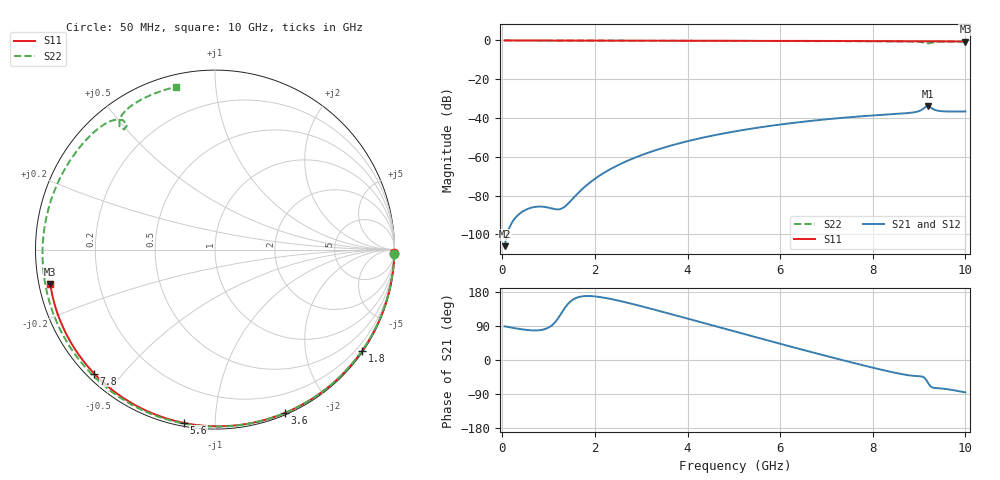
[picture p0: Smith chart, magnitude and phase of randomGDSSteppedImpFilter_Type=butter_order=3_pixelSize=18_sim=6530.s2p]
! freq	dB(S11)	phase(S11)	dB(S12)	phase(S12)
!  dB(S21)	phase(S21)	dB(S22)	phase(S22)
!S-par simulation data
#  GHz  S  DB  R 50
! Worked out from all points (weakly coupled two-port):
!   200 points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, 50 MHz to 10 GHz, reference 50 ohm
!   highest |S21| = -33.87 dB at 9.2 GHz (marker M1); lowest = -106.1 dB at 50 MHz (marker M2)
!   lowest |S11| = -0.6 dB at 10 GHz (marker M3), VSWR 31.22, Z = 1.62 - j5.15 ohm
!   |S11| at or under -10 dB: nowhere
!   |S22| runs from -1.5 to 0.0 dB; largest |S21 - S12| = 0
!   S11 on the Smith chart (normalised r, x): 50 MHz: open; 1.8 GHz: 0.03, -3.23; 3.6 GHz: 0.02, -1.51; 5.6 GHz: 0.02, -0.84; 7.8 GHz: 0.02, -0.42; 10 GHz: 0.03, -0.10
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0.05  -0.00 -1.0  -106.14 88.8  -106.14 88.8  -0.00 -1.4
0.75  -0.02 -14.5  -85.76 78.1  -85.76 78.1  -0.03 -21.3
1.55  -0.04 -29.8  -80.89 161.2  -80.89 161.2  -0.06 -43.5
1.6  -0.04 -30.7  -79.63 164.0  -79.63 164.0  -0.06 -44.9
1.75  -0.04 -33.5  -76.15 168.3  -76.15 168.3  -0.06 -49.0
1.8  -0.04 -34.5  -75.10 168.8  -75.10 168.8  -0.06 -50.3
2.1  -0.05 -40.0  -69.74 166.3  -69.74 166.3  -0.07 -58.3
2.45  -0.06 -46.5  -64.93 158.3  -64.93 158.3  -0.09 -67.6
3.4  -0.08 -63.5  -55.95 129.1  -55.95 129.1  -0.12 -91.7
3.6  -0.09 -66.9  -54.52 122.5  -54.52 122.5  -0.13 -96.6
4.3  -0.11 -78.9  -50.30 99.2  -50.30 99.2  -0.16 -113.5
5.05  -0.14 -91.3  -46.80 74.1  -46.80 74.1  -0.20 -131.2
5.6  -0.17 -100.2  -44.70 55.9  -44.70 55.9  -0.23 -144.0
6.7  -0.23 -117.4  -41.41 20.1  -41.41 20.1  -0.31 -169.9
7.8  -0.31 -134.2  -39.04 -14.3  -39.04 -14.3  -0.41 163.1
8.35  -0.37 -142.6  -38.14 -30.2  -38.14 -30.2  -0.46 148.6
9  -0.44 -152.5  -36.43 -42.7  -36.43 -42.7  -0.70 129.0
9.15  -0.45 -154.8  -34.11 -51.4  -34.11 -51.4  -1.42 125.2
9.2  -0.46 -155.6  -33.87 -62.0  -33.87 -62.0  -1.52 127.1
9.3  -0.47 -157.2  -35.38 -73.1  -35.38 -73.1  -0.95 126.4
9.45  -0.49 -159.5  -36.42 -74.8  -36.42 -74.8  -0.67 121.0
10  -0.56 -168.2  -36.63 -85.6  -36.63 -85.6  -0.61 103.4
